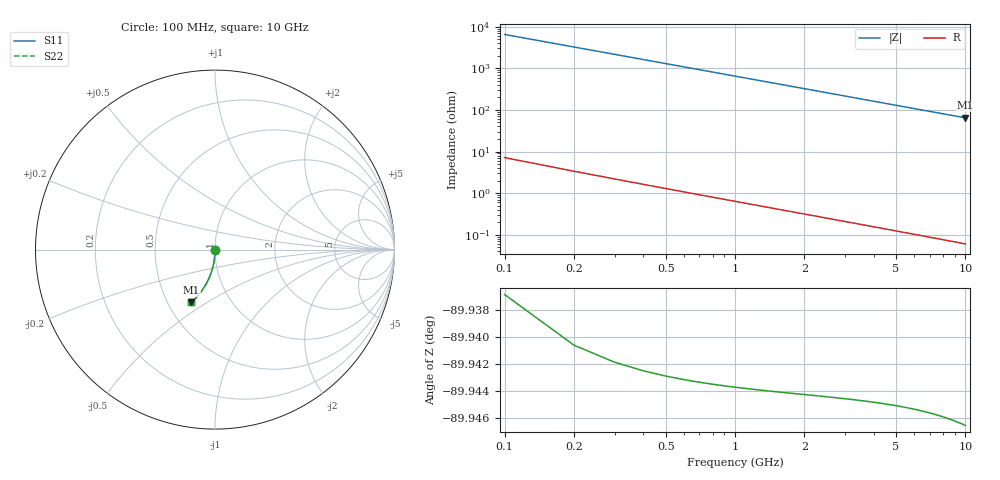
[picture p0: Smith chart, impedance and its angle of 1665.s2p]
# Hz S RI R 50.00
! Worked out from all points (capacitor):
!   100 points, 100 MHz to 10 GHz, reference 50 ohm
!   read as one part in shunt: C = 245 fF near 100 MHz
!   lowest |Z| = 64.7 ohm at 10 GHz (marker M1)
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1e8  8.81e-05 -0.0034  0.9999 -0.0043  0.9999 -0.0043  8.81e-05 -0.0034
2e8  4.13e-05 -0.0068  0.9998 -0.00859  0.9998 -0.00859  4.13e-05 -0.0068
3e8  -3.49e-05 -0.0102  0.9997 -0.0129  0.9997 -0.0129  -3.49e-05 -0.0102
4e8  -0.00014 -0.0136  0.9996 -0.0172  0.9996 -0.0172  -0.00014 -0.0136
5e8  -0.000275 -0.017  0.9995 -0.0215  0.9995 -0.0215  -0.000275 -0.017
6e8  -0.000439 -0.0204  0.9993 -0.0258  0.9993 -0.0258  -0.000439 -0.0204
7e8  -0.000633 -0.0238  0.9991 -0.0301  0.9991 -0.0301  -0.000633 -0.0238
8e8  -0.000855 -0.0272  0.9989 -0.0344  0.9989 -0.0344  -0.000855 -0.0272
9e8  -0.00111 -0.0306  0.9986 -0.0387  0.9986 -0.0387  -0.00111 -0.0306
1.1e9  -0.0017 -0.0373  0.998 -0.0472  0.998 -0.0472  -0.0017 -0.0373
1.4e9  -0.0028 -0.0475  0.9969 -0.0601  0.9969 -0.0601  -0.0028 -0.0475
1.8e9  -0.00468 -0.061  0.995 -0.0772  0.995 -0.0772  -0.00468 -0.061
2.1e9  -0.0064 -0.071  0.9932 -0.0899  0.9932 -0.0899  -0.0064 -0.071
2.5e9  -0.00908 -0.0843  0.9904 -0.1069  0.9904 -0.1069  -0.00908 -0.0843
2.9e9  -0.0122 -0.0976  0.9872 -0.1237  0.9872 -0.1237  -0.0122 -0.0976
3.4e9  -0.0168 -0.1139  0.9825 -0.1446  0.9825 -0.1446  -0.0168 -0.1139
4.2e9  -0.0255 -0.1395  0.9736 -0.1775  0.9736 -0.1775  -0.0255 -0.1395
5.1e9  -0.0373 -0.1674  0.9614 -0.2137  0.9614 -0.2137  -0.0373 -0.1674
5.9e9  -0.0494 -0.1912  0.9489 -0.2448  0.9489 -0.2448  -0.0494 -0.1912
6.7e9  -0.0631 -0.214  0.9348 -0.275  0.9348 -0.275  -0.0631 -0.214
8.4e9  -0.0963 -0.2583  0.9005 -0.3352  0.9005 -0.3352  -0.0963 -0.2583
1e10  -0.132 -0.2944  0.8635 -0.3864  0.8635 -0.3864  -0.132 -0.2944
